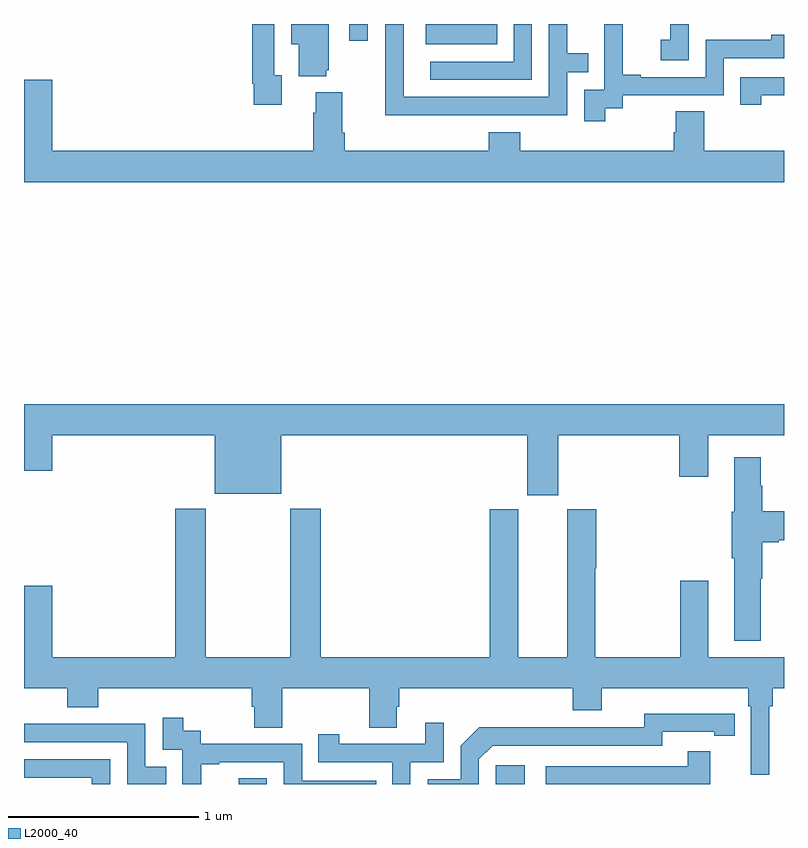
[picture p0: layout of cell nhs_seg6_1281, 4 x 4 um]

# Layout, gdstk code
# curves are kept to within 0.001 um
import gdstk
lib = gdstk.Library(unit=1e-6, precision=1e-09)
def R(c, l, rs):  # rectangles x0, y0, x1, y1
    for r in rs: c.add(gdstk.rectangle(r[:2], r[2:], *l))
def P(c, l, *ps):  # polygons
    for p in ps: c.add(gdstk.Polygon(p, *l))
L2000_40 = (2000, 40)

nhs_seg6_1281 = lib.new_cell('nhs_seg6_1281')
R(nhs_seg6_1281, L2000_40, [(190.131,945.5,190.278,945.529), (191.484,945.5,191.635,945.598), (190.713,949.413,190.809,949.5)])
P(nhs_seg6_1281, L2000_40, [(192.498,949.5),(192.4,949.5),(192.4,949.417),(192.351,949.417),(192.351,949.308),(192.498,949.308)],
  [(190.592,949.257),(190.603,949.257),(190.603,949.5),(190.406,949.5),(190.406,949.394),(190.445,949.394),(190.445,949.226),(190.592,949.226)],
  [(191.673,949.5),(191.577,949.5),(191.577,949.302),(191.139,949.302),(191.139,949.206),(191.673,949.206)],
  [(190.357,949.23),(190.317,949.23),(190.317,949.5),(190.201,949.5),(190.201,949.186),(190.209,949.186),(190.209,949.074),(190.357,949.074)],
  [(191.492,949.498),(191.235,949.498),(191.235,949.5),(191.114,949.5),(191.114,949.394),(191.492,949.394)],
  [(191.363,949.02),(191.859,949.02),(191.859,949.245),(191.969,949.245),(191.969,949.346),(191.859,949.346),(191.859,949.5),(191.763,949.5),(191.763,949.116),(190.998,949.116),(190.998,949.5),(190.902,949.5),(190.902,949.325),(190.9,949.325),(190.9,949.019),(191.363,949.019)],
  [(192.058,949.057),(192.15,949.057),(192.15,949.125),(192.684,949.125),(192.684,949.32),(193,949.32),(193,949.443),(192.933,949.443),(192.933,949.416),(192.588,949.416),(192.588,949.221),(192.247,949.221),(192.247,949.234),(192.152,949.234),(192.152,949.5),(192.053,949.5),(192.053,949.385),(192.054,949.385),(192.054,949.155),(191.949,949.155),(191.949,948.987),(192.058,948.987)],
  [(192.88,949.125),(193,949.125),(193,949.221),(192.769,949.221),(192.769,949.074),(192.88,949.074)],
  [(193,948.832),(192.579,948.832),(192.579,949.04),(192.431,949.04),(192.431,948.93),(192.419,948.93),(192.419,948.832),(191.612,948.832),(191.612,948.931),(191.447,948.931),(191.447,948.832),(190.688,948.832),(190.688,948.928),(190.675,948.928),(190.675,949.141),(190.535,949.141),(190.535,949.034),(190.523,949.034),(190.523,948.832),(189.148,948.832),(189.148,949.207),(189,949.207),(189,948.668),(193,948.668)],
  [(189,947.148),(189.148,947.148),(189.148,947.336),(190.004,947.336),(190.004,947.027),(190.354,947.027),(190.354,947.336),(191.648,947.336),(191.648,947.019),(191.812,947.019),(191.812,947.336),(192.449,947.336),(192.449,947.118),(192.601,947.118),(192.601,947.336),(193,947.336),(193,947.5),(189,947.5)],
  [(192.877,946.579),(192.885,946.579),(192.885,946.772),(192.973,946.772),(192.973,946.784),(193,946.784),(193,946.936),(192.885,946.936),(192.885,947.07),(192.877,947.07),(192.877,947.221),(192.737,947.221),(192.737,946.932),(192.725,946.932),(192.725,946.688),(192.737,946.688),(192.737,946.253),(192.877,946.253)],
  [(189.957,946.948),(189.797,946.948),(189.797,946.168),(189.148,946.168),(189.148,946.543),(189,946.543),(189,946.004),(189.227,946.004),(189.227,945.905),(189.392,945.905),(189.392,946.004),(190.199,946.004),(190.199,945.906),(190.211,945.906),(190.211,945.796),(190.359,945.796),(190.359,946.004),(190.816,946.004),(190.816,945.796),(190.963,945.796),(190.963,945.906),(190.976,945.906),(190.976,946.004),(191.888,946.004),(191.888,945.887),(192.04,945.887),(192.04,946.004),(192.812,946.004),(192.812,945.908),(192.825,945.908),(192.825,945.549),(192.922,945.549),(192.922,945.908),(192.941,945.908),(192.941,946.004),(193,946.004),(193,946.168),(192.601,946.168),(192.601,946.57),(192.454,946.57),(192.454,946.168),(192.006,946.168),(192.006,946.635),(192.011,946.635),(192.011,946.947),(191.858,946.947),(191.858,946.168),(191.602,946.168),(191.602,946.947),(191.45,946.947),(191.45,946.168),(190.562,946.168),(190.562,946.948),(190.402,946.948),(190.402,946.168),(189.957,946.168)],
  [(191.394,945.63),(191.466,945.702),(192.36,945.702),(192.36,945.774),(192.632,945.774),(192.632,945.754),(192.74,945.754),(192.74,945.87),(192.264,945.871),(192.264,945.798),(191.804,945.798),(191.804,945.8),(191.396,945.8),(191.298,945.702),(191.298,945.525),(191.124,945.525),(191.124,945.5),(191.394,945.5)],
  [(189.932,945.603),(190.027,945.603),(190.027,945.615),(190.368,945.615),(190.368,945.5),(190.853,945.5),(190.853,945.516),(190.464,945.516),(190.464,945.711),(189.93,945.711),(189.93,945.78),(189.838,945.78),(189.838,945.85),(189.729,945.85),(189.729,945.681),(189.834,945.681),(189.834,945.5),(189.932,945.5)],
  [(191.034,945.615),(191.208,945.615),(191.208,945.823),(191.111,945.823),(191.111,945.711),(190.66,945.711),(190.66,945.763),(190.549,945.763),(190.549,945.615),(190.938,945.615),(190.938,945.5),(191.034,945.5)],
  [(189.749,945.591),(189.639,945.591),(189.639,945.816),(189.143,945.816),(189.143,945.818),(189,945.818),(189,945.72),(189.543,945.72),(189.543,945.5),(189.749,945.5)],
  [(192.611,945.673),(192.493,945.673),(192.493,945.594),(191.745,945.594),(191.745,945.5),(192.611,945.5)],
  [(189.453,945.63),(189,945.63),(189,945.534),(189.357,945.534),(189.357,945.5),(189.453,945.5)])

lib.write_gds('nhs_seg6_1281.gds')
